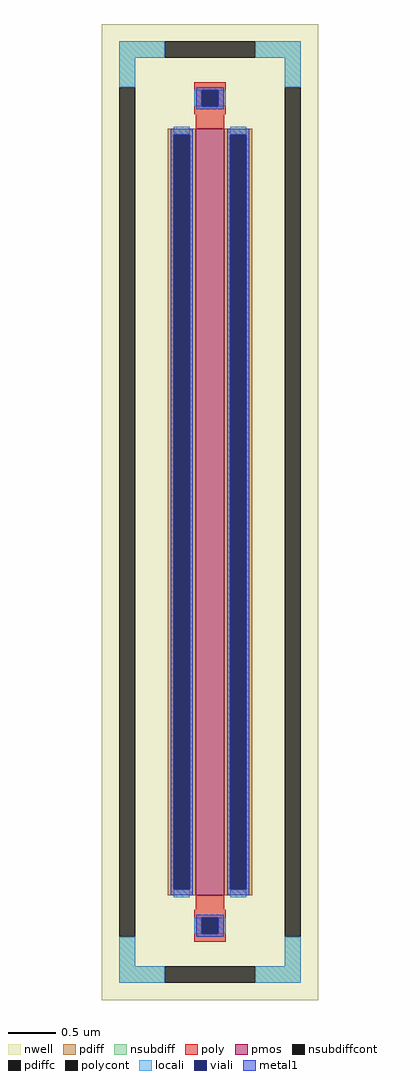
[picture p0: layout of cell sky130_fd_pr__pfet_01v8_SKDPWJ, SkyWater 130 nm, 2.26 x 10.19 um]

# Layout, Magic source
magic
tech sky130A
magscale 1 2
<< nwell >>
rect -226 -1019 226 1019
<< pmos >>
rect -30 -800 30 800
<< pdiff >>
rect -88 788 -30 800
rect -88 -788 -76 788
rect -42 -788 -30 788
rect -88 -800 -30 -788
rect 30 788 88 800
rect 30 -788 42 788
rect 76 -788 88 788
rect 30 -800 88 -788
<< pdiffc >>
rect -76 -788 -42 788
rect 42 -788 76 788
<< nsubdiff >>
rect -190 949 -94 983
rect 94 949 190 983
rect -190 887 -156 949
rect 156 887 190 949
rect -190 -949 -156 -887
rect 156 -949 190 -887
rect -190 -983 -94 -949
rect 94 -983 190 -949
<< nsubdiffcont >>
rect -94 949 94 983
rect -190 -887 -156 887
rect 156 -887 190 887
rect -94 -983 94 -949
<< poly >>
rect -33 881 33 897
rect -33 847 -17 881
rect 17 847 33 881
rect -33 831 33 847
rect -30 800 30 831
rect -30 -831 30 -800
rect -33 -847 33 -831
rect -33 -881 -17 -847
rect 17 -881 33 -847
rect -33 -897 33 -881
<< polycont >>
rect -17 847 17 881
rect -17 -881 17 -847
<< locali >>
rect -190 949 -94 983
rect 94 949 190 983
rect -190 887 -156 949
rect 156 887 190 949
rect -33 847 -17 881
rect 17 847 33 881
rect -76 788 -42 804
rect -76 -804 -42 -788
rect 42 788 76 804
rect 42 -804 76 -788
rect -33 -881 -17 -847
rect 17 -881 33 -847
rect -190 -949 -156 -887
rect 156 -949 190 -887
rect -190 -983 -94 -949
rect 94 -983 190 -949
<< viali >>
rect -17 847 17 881
rect -76 -788 -42 788
rect 42 -788 76 788
rect -17 -881 17 -847
<< metal1 >>
rect -29 881 29 887
rect -29 847 -17 881
rect 17 847 29 881
rect -29 841 29 847
rect -82 788 -36 800
rect -82 -788 -76 788
rect -42 -788 -36 788
rect -82 -800 -36 -788
rect 36 788 82 800
rect 36 -788 42 788
rect 76 -788 82 788
rect 36 -800 82 -788
rect -29 -847 29 -841
rect -29 -881 -17 -847
rect 17 -881 29 -847
rect -29 -887 29 -881
<< properties >>
string FIXED_BBOX -173 -966 173 966
string gencell sky130_fd_pr__pfet_01v8
string library sky130
string parameters w 8.0 l 0.3 m 1 nf 1 diffcov 100 polycov 100 guard 1 glc 1 grc 1 gtc 1 gbc 1 tbcov 100 rlcov 100 topc 1 botc 1 poverlap 0 doverlap 1 lmin 0.15 wmin 0.42 compatible {sky130_fd_pr__pfet_01v8  sky130_fd_pr__pfet_01v8_lvt sky130_fd_pr__pfet_01v8_hvt  sky130_fd_pr__pfet_g5v0d10v5} full_metal 1 viasrc 100 viadrn 100 viagate 100 viagb 0 viagr 0 viagl 0 viagt 0
<< end >>
